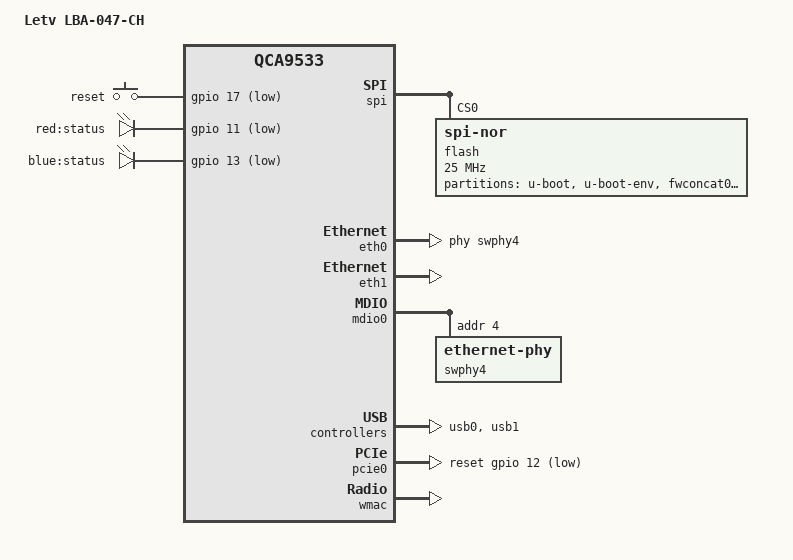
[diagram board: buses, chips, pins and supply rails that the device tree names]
// SPDX-License-Identifier: GPL-2.0-or-later OR MIT

#include "qca953x.dtsi"

#include <dt-bindings/gpio/gpio.h>
#include <dt-bindings/input/input.h>

/ {
    compatible = "letv,lba-047-ch", "qca,qca9533";
    model = "Letv LBA-047-CH";

    aliases {
        led-boot = &led_blue;
        led-failsafe = &led_blue;
        led-running = &led_blue;
        led-upgrade = &led_red;
    };

    keys {
        compatible = "gpio-keys";

        reset {
            label = "reset";
            linux,code = <KEY_RESTART>;
            gpios = <&gpio 17 GPIO_ACTIVE_LOW>;
            debounce-interval = <60>;
        };
    };

    leds {
        compatible = "gpio-leds";

        led_red: red {
            label = "red:status";
            gpios = <&gpio 11 GPIO_ACTIVE_LOW>;
        };

        led_blue: blue {
            label = "blue:status";
            gpios = <&gpio 13 GPIO_ACTIVE_LOW>;
        };
    };
};

&spi {
    status = "okay";

    flash@0 {
        compatible = "jedec,spi-nor";
        reg = <0>;
        spi-max-frequency = <25000000>;

        partitions {
            compatible = "fixed-partitions";
            #address-cells = <1>;
            #size-cells = <1>;

            partition@0 {
                label = "u-boot";
                reg = <0x000000 0x040000>;
                read-only;
            };

            partition@40000 {
                label = "u-boot-env";
                reg = <0x040000 0x010000>;
            };

            partition@50000 {
                label = "fwconcat0";
                reg = <0x050000 0xe30000>;
            };

            partition@e80000 {
                label = "loader";
                reg = <0xe80000 0x010000>;
            };

            partition@e90000 {
                label = "fwconcat1";
                reg = <0xe90000 0x160000>;
            };

            art: partition@ff0000 {
                label = "art";
                reg = <0xff0000 0x010000>;
                read-only;
            };
        };
    };
};

&eth0 {
    status = "okay";

    phy-handle = <&swphy4>;
};

&eth1 {
    status = "okay";
};

&mdio0 {
    status = "okay";

    swphy4: ethernet-phy@4 {
        reg = <4>;
    };
};

// ===== 新增：启用 USB 控制器 =====
&usb0 {
    status = "okay";
};

&usb1 {
    status = "okay";
};

// ===== 新增：启用 PCIe 控制器 =====
&pcie0 {
    status = "okay";
    // PERST# GPIO 12 (根据用户反馈)
    reset-gpios = <&gpio 12 GPIO_ACTIVE_LOW>;
};

// ===== 新增：启用 GPIO =====
&gpio {
    status = "okay";
};

&wmac {
    status = "okay";

    mtd-cal-data = <&art 0x1002>;
};
